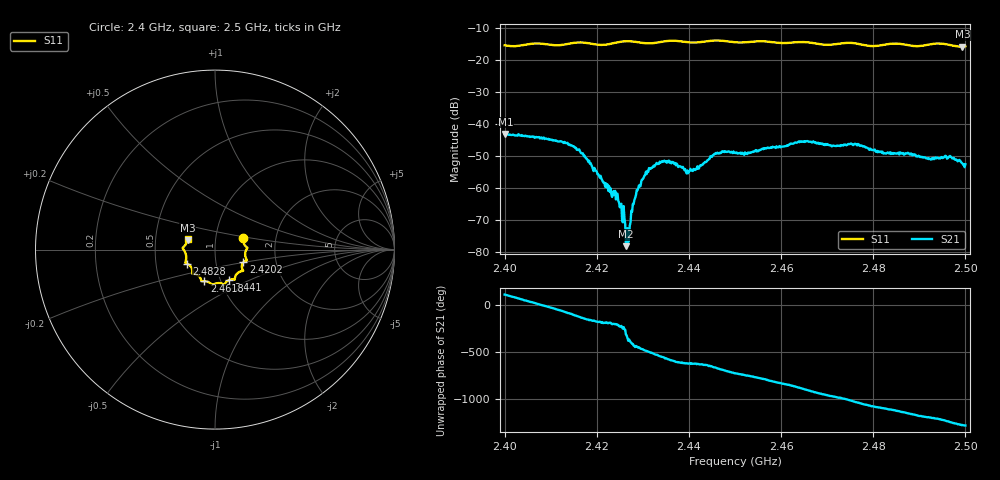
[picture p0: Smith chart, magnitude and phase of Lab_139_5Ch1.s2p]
# Hz S RI R 50
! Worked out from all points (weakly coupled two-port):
!   601 points, 2.4 GHz to 2.5 GHz, reference 50 ohm
!   highest |S21| = -43.11 dB at 2.4002 GHz (marker M1); lowest = -78.2 dB at 2.4263 GHz (marker M2)
!   lowest |S11| = -15.8 dB at 2.4993 GHz (marker M3), VSWR 1.39, Z = 36.5 + j3.86 ohm
!   |S11| at or under -10 dB: start of sweep to end of sweep
!   S12 and S22 are empty: the file has one direction only
!   S11 on the Smith chart (normalised r, x): 2.4 GHz: 1.36, +0.18; 2.4202 GHz: 1.36, -0.20; 2.441 GHz: 1.10, -0.39; 2.4618 GHz: 0.84, -0.31; 2.4828 GHz: 0.72, -0.12; 2.5 GHz: 0.73, +0.09
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2.4e9  0.1574 0.0629  -0.00276 0.00627  0 0  0 0
2.400167e9  0.1573 0.0613  -0.0026 0.00648  0 0  0 0
2.4125e9  0.1686 -0.0342  0.00245 -0.00465  0 0  0 0
2.416667e9  0.1778 -0.06  -0.00245 -0.00245  0 0  0 0
2.420167e9  0.1579 -0.0708  -0.00163 -0.000105  0 0  0 0
2.424167e9  0.1521 -0.1079  -0.000594 0.000288  0 0  0 0
2.424833e9  0.1542 -0.1124  -0.000422 0.000416  0 0  0 0
2.426333e9  0.1569 -0.1177  8.52e-05 8.86e-05  0 0  0 0
2.426833e9  0.1566 -0.1183  0.000133 -5.02e-05  0 0  0 0
2.428333e9  0.1508 -0.1193  2.32e-05 -0.0007  0 0  0 0
2.430167e9  0.1346 -0.1251  -0.000686 -0.00128  0 0  0 0
2.433333e9  0.1121 -0.151  -0.00236 -7.4e-05  0 0  0 0
2.441e9  0.0786 -0.1696  -0.000124 0.00198  0 0  0 0
2.445667e9  0.0516 -0.1947  0.00205 0.00269  0 0  0 0
2.45e9  0.0284 -0.187  0.00348 -0.000492  0 0  0 0
2.461833e9  -0.0594 -0.1759  -0.00332 -0.00339  0 0  0 0
2.466667e9  -0.0779 -0.168  -0.00477 0.00191  0 0  0 0
2.482833e9  -0.1574 -0.0775  0.00304 -0.00161  0 0  0 0
2.483333e9  -0.1606 -0.0763  0.00285 -0.00202  0 0  0 0
2.497e9  -0.1676 0.023  -0.00298 -0.000265  0 0  0 0
2.499333e9  -0.1532 0.0515  -0.00225 0.000921  0 0  0 0
2.5e9  -0.1519 0.0611  -0.00209 0.00108  0 0  0 0
